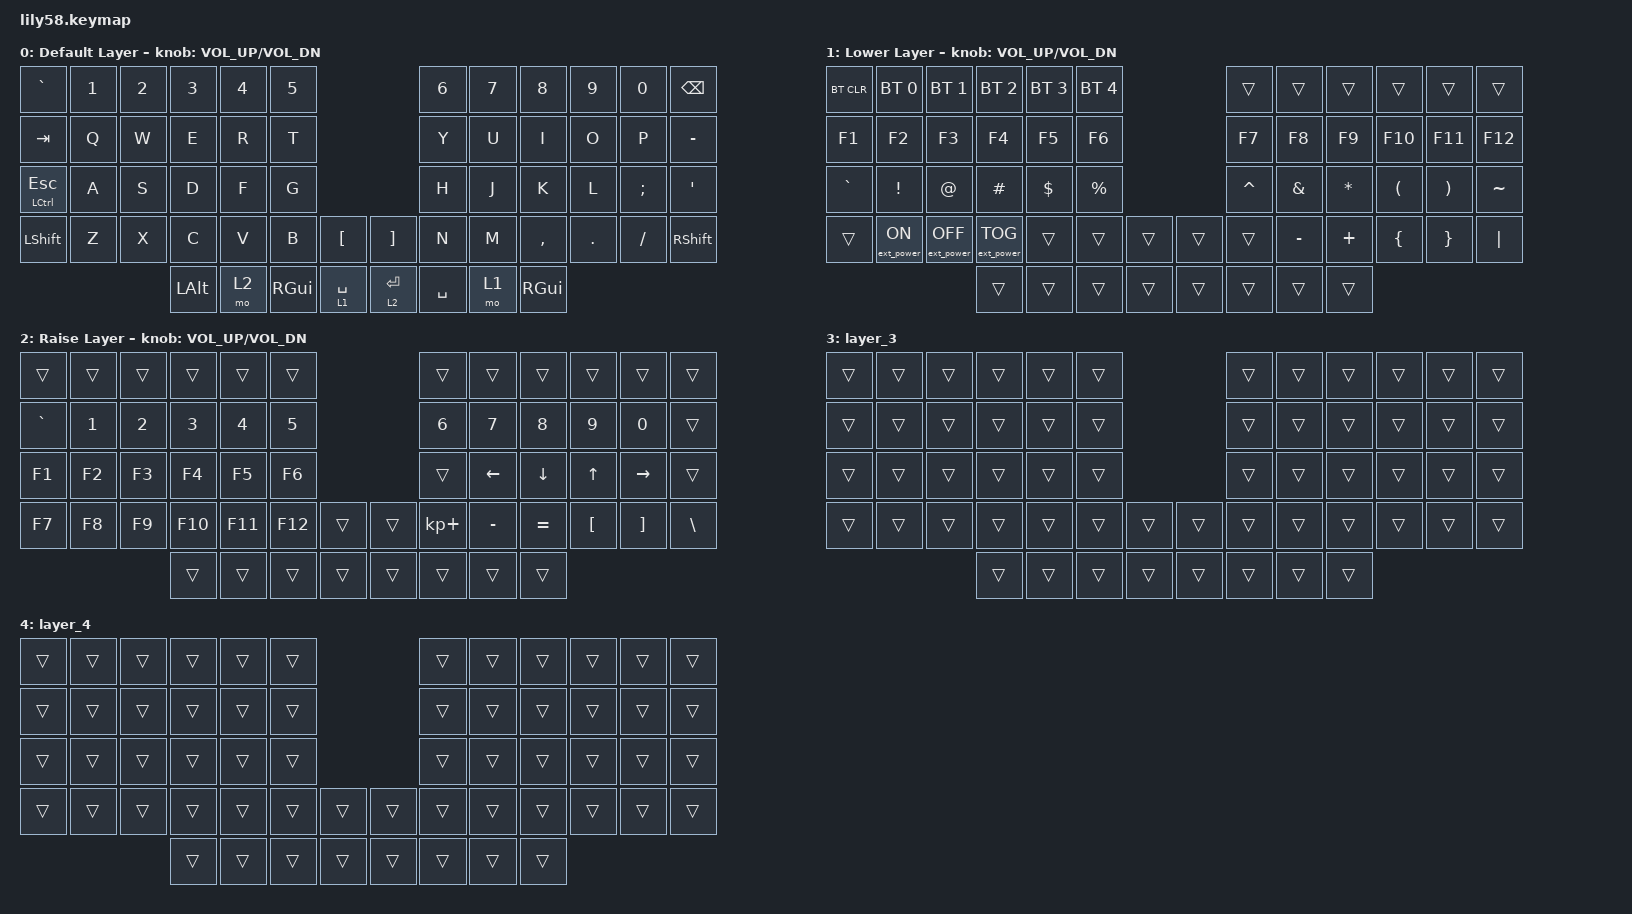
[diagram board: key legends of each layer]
/*
 * Copyright (c) 2020 The ZMK Contributors
 *
 * SPDX-License-Identifier: MIT
 */

#include <behaviors.dtsi>
#include <dt-bindings/zmk/bt.h>
#include <dt-bindings/zmk/ext_power.h>
#include <dt-bindings/zmk/keys.h>

/ {
    keymap {
        compatible = "zmk,keymap";

        default_layer {
            display-name = "Default Layer";

            // ------------------------------------------------------------------------------------------------------------
            // |  ESC  |  1  |  2  |  3   |  4   |  5   |                   |  6   |  7    |  8    |  9   |   0   |   `   |
            // |  TAB  |  Q  |  W  |  E   |  R   |  T   |                   |  Y   |  U    |  I    |  O   |   P   |   -   |
            // |  CTRL |  A  |  S  |  D   |  F   |  G   |                   |  H   |  J    |  K    |  L   |   ;   |   '   |
            // | SHIFT |  Z  |  X  |  C   |  V   |  B   |   "["  |  |  "]"  |  N   |  M    |  ,    |  .   |   /   | SHIFT |
            //                     | ALT  | GUI  | LOWER|  SPACE |  | ENTER | RAISE| BSPC  | GUI   |

            bindings = <
&kp GRAVE         &kp N1  &kp N2  &kp N3    &kp N4  &kp N5                                     &kp N6     &kp N7  &kp N8     &kp N9   &kp N0    &kp BSPC
&kp TAB           &kp Q   &kp W   &kp E     &kp R   &kp T                                      &kp Y      &kp U   &kp I      &kp O    &kp P     &kp MINUS
&mt LCTRL ESCAPE  &kp A   &kp S   &kp D     &kp F   &kp G                                      &kp H      &kp J   &kp K      &kp L    &kp SEMI  &kp SQT
&kp LSHFT         &kp Z   &kp X   &kp C     &kp V   &kp B          &kp LBKT       &kp RBKT     &kp N      &kp M   &kp COMMA  &kp DOT  &kp FSLH  &kp RSHFT
                                  &kp LALT  &mo 2   &kp RIGHT_GUI  &lt 1 SPACE    &lt 2 ENTER  &kp SPACE  &mo 1   &kp RGUI
            >;

            sensor-bindings = <&inc_dec_kp C_VOL_UP C_VOL_DN>;
        };

        lower_layer {
            display-name = "Lower Layer";

            // ------------------------------------------------------------------------------------------------------------
            // | BTCLR | BT1 | BT2 |  BT3 |  BT4 |  BT5 |                   |      |       |       |      |       |       |
            // |  F1   |  F2 |  F3 |  F4  |  F5  |  F6  |                   |  F7  |  F8   |  F9   |  F10 |  F11  |  F12  |
            // |   `   |  !  |  @  |  #   |  $   |  %   |                   |  ^   |  &    |  *    |  (   |   )   |   ~   |
            // |       |     |     |      |      |      |        |  |       |      |  _    |  +    |  {   |   }   |  "|"  |
            //                     |      |      |      |        |  |       |      |       |       |

            bindings = <
&bt BT_CLR  &bt BT_SEL 0      &bt BT_SEL 1       &bt BT_SEL 2       &bt BT_SEL 3  &bt BT_SEL 4                    &trans     &trans     &trans     &trans    &trans    &trans
&kp F1      &kp F2            &kp F3             &kp F4             &kp F5        &kp F6                          &kp F7     &kp F8     &kp F9     &kp F10   &kp F11   &kp F12
&kp GRAVE   &kp EXCL          &kp AT             &kp HASH           &kp DOLLAR    &kp PRCNT                       &kp CARET  &kp AMPS   &kp ASTRK  &kp LPAR  &kp RPAR  &kp TILDE
&trans      &ext_power EP_ON  &ext_power EP_OFF  &ext_power EP_TOG  &trans        &trans        &trans    &trans  &trans     &kp MINUS  &kp PLUS   &kp LBRC  &kp RBRC  &kp PIPE
                                                 &trans             &trans        &trans        &trans    &trans  &trans     &trans     &trans
            >;

            sensor-bindings = <&inc_dec_kp C_VOL_UP C_VOL_DN>;
        };

        raise_layer {
            display-name = "Raise Layer";

            // ------------------------------------------------------------------------------------------------------------
            // |       |     |     |      |      |      |                   |      |       |       |      |       |       |
            // |   `   |  1  |  2  |  3   |  4   |  5   |                   |  6   |   7   |   8   |  9   |   0   |       |
            // |   F1  |  F2 |  F3 |  F4  |  F5  |  F6  |                   |      |   <-  |   v   |  ^   |  ->   |       |
            // |   F7  |  F8 |  F9 |  F10 |  F11 |  F12 |        |  |       |  +   |   -   |   =   |  [   |   ]   |   \   |
            //                     |      |      |      |        |  |       |      |       |       |

            bindings = <
&trans     &trans  &trans  &trans   &trans   &trans                     &trans       &trans     &trans     &trans    &trans     &trans
&kp GRAVE  &kp N1  &kp N2  &kp N3   &kp N4   &kp N5                     &kp N6       &kp N7     &kp N8     &kp N9    &kp N0     &trans
&kp F1     &kp F2  &kp F3  &kp F4   &kp F5   &kp F6                     &trans       &kp LEFT   &kp DOWN   &kp UP    &kp RIGHT  &trans
&kp F7     &kp F8  &kp F9  &kp F10  &kp F11  &kp F12  &trans    &trans  &kp KP_PLUS  &kp MINUS  &kp EQUAL  &kp LBKT  &kp RBKT   &kp BSLH
                           &trans   &trans   &trans   &trans    &trans  &trans       &trans     &trans
            >;

            sensor-bindings = <&inc_dec_kp C_VOL_UP C_VOL_DN>;
        };

        layer_3 {
            bindings = <
&trans  &trans  &trans  &trans  &trans  &trans                    &trans  &trans  &trans  &trans  &trans  &trans
&trans  &trans  &trans  &trans  &trans  &trans                    &trans  &trans  &trans  &trans  &trans  &trans
&trans  &trans  &trans  &trans  &trans  &trans                    &trans  &trans  &trans  &trans  &trans  &trans
&trans  &trans  &trans  &trans  &trans  &trans  &trans    &trans  &trans  &trans  &trans  &trans  &trans  &trans
                        &trans  &trans  &trans  &trans    &trans  &trans  &trans  &trans
            >;
        };

        layer_4 {
            bindings = <
&trans  &trans  &trans  &trans  &trans  &trans                    &trans  &trans  &trans  &trans  &trans  &trans
&trans  &trans  &trans  &trans  &trans  &trans                    &trans  &trans  &trans  &trans  &trans  &trans
&trans  &trans  &trans  &trans  &trans  &trans                    &trans  &trans  &trans  &trans  &trans  &trans
&trans  &trans  &trans  &trans  &trans  &trans  &trans    &trans  &trans  &trans  &trans  &trans  &trans  &trans
                        &trans  &trans  &trans  &trans    &trans  &trans  &trans  &trans
            >;
        };
    };
};
